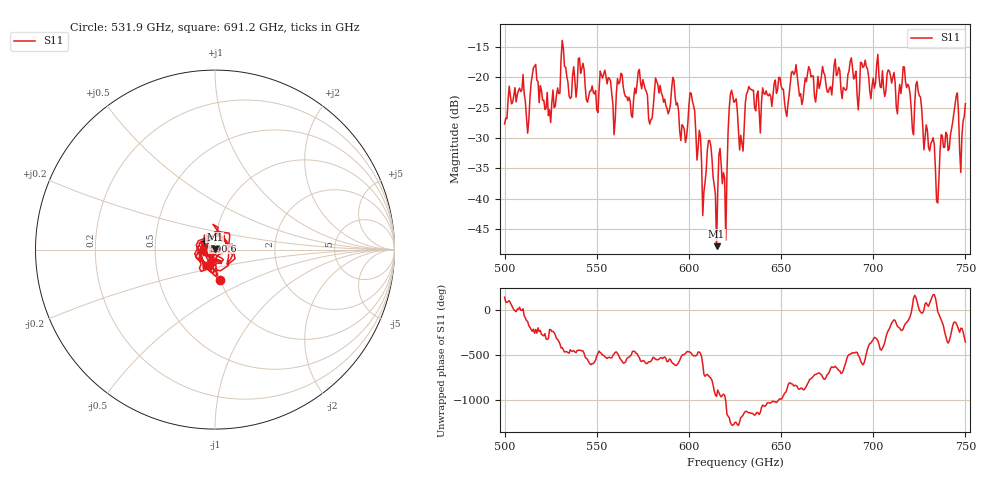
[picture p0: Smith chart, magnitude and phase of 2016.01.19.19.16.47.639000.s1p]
!Created with skrf (http://scikit-rf.org).
# GHz S RI R 50.0
!freq ReS11 ImS11
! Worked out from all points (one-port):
!   401 points, 500 GHz to 750 GHz, reference 50 ohm
!   lowest |S11| = -47.8 dB at 615 GHz (marker M1), VSWR 1.01, Z = 49.8 + j0.358 ohm
!   |S11| at or under -10 dB: start of sweep to end of sweep
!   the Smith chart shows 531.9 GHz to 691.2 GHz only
!   S11 on the Smith chart (normalised r, x): 531.9 GHz: 1.00, -0.35; 590.6 GHz: 0.88, +0.09; 691.2 GHz: 0.95, -0.13
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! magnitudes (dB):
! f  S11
! 500 GHz  -27.7
! 512.5 GHz  -29.2
! 516.2 GHz  -18.2
! 526.2 GHz  -22.1
! 531.2 GHz  -14.0
! 531.9 GHz  -15.2
! 559.4 GHz  -29.5
! 562.5 GHz  -20.8
! 579.4 GHz  -27.0
! 590.6 GHz  -21.9
! 593.8 GHz  -24.2
! 601.9 GHz  -23.9
! 608.1 GHz  -38.9
! 611.2 GHz  -30.4
! 615 GHz  -47.8
! 619.4 GHz  -36.6
! 622.5 GHz  -22.8
! 625 GHz  -23.9
! 628.1 GHz  -29.6
! 632.5 GHz  -21.5
! 656.2 GHz  -19.0
! 687.5 GHz  -17.4
! 691.2 GHz  -22.9
! 718.8 GHz  -21.2
! 735 GHz  -40.7
! 744.4 GHz  -24.6
! 748.1 GHz  -29.6
! 750 GHz  -24.4
